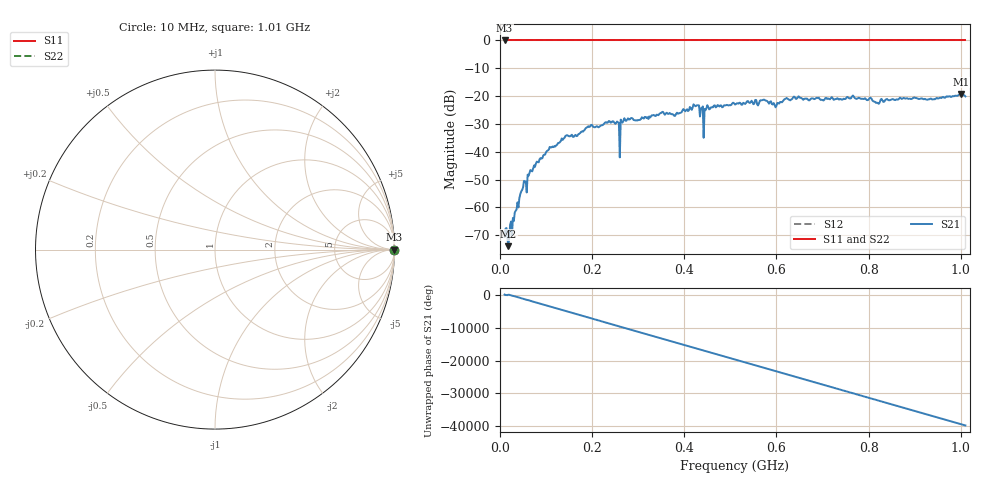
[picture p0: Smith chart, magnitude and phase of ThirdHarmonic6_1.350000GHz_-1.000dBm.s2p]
! 8/16/2025 3:11:46 PM
! C:\ANRITSUVNA\TEMP\TEMP.S2P
! CHANNEL.1
! TR.MEASUREMENT
! RAW.DATA
! RF.CORRECTION.OFF
! AVERAGING.OFF
! IF.BANDWIDTH: 5KHZ
! SWEEPTYPE:  FREQ.SWEEP(Linear)
! Reference Plane Port Info
! PORT:  PORT1  PORT2
! DISTANCE:  0  m  0  m
! TIME:  0  s  0  s
! PHASE.OFFSET:  0  deg.  0  deg.
! LOSS:  0  dB  0  dB
! REF.LOSS:  0  dB  0  dB
! REF.FREQ:  0  Hz  0  Hz
! Power Info
! POWER:  -20  dBm  -20  dBm
! EFF.POWER:  -20  dBm  -20  dBm
! SOURCE.ATTEN:  0  dB  0  dB
! TEST.ATTEN:  0  dB  0  dB
# GHZ S RI R 50.0
! FREQ.GHZ  S11RE  S11IM  S21RE  S21IM  S12RE  S12IM  S22RE  S22IM
!; PortSelection: Port_12
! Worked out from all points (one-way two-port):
!   501 points, 10 MHz to 1.01 GHz, reference 50 ohm
!   highest |S21| = -19.20 dB at 1 GHz (marker M1); lowest = -73.9 dB at 18 MHz (marker M2)
!   lowest |S11| = 0.0 dB at 10 MHz (marker M3)
!   |S11| at or under -10 dB: nowhere
!   |S22| runs from 0.0 to 0.0 dB; largest |S21 - S12| = 1.1
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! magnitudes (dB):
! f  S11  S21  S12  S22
! 10 MHz  0.0  -70.6  0.0  0.0
! 18 MHz  0.0  -73.9  0.0  0.0
! 22 MHz  0.0  -66.1  0.0  0.0
! 48 MHz  0.0  -53.7  0.0  0.0
! 64 MHz  0.0  -47.5  0.0  0.0
! 110 MHz  0.0  -38.4  0.0  0.0
! 178 MHz  0.0  -32.7  0.0  0.0
! 240 MHz  0.0  -29.5  0.0  0.0
! 262 MHz  0.0  -28.4  0.0  0.0
! 266 MHz  0.0  -29.5  0.0  0.0
! 344 MHz  0.0  -26.8  0.0  0.0
! 378 MHz  0.0  -27.1  0.0  0.0
! 424 MHz  0.0  -23.6  0.0  0.0
! 436 MHz  0.0  -24.4  0.0  0.0
! 438 MHz  0.0  -24.6  0.0  0.0
! 446 MHz  0.0  -25.0  0.0  0.0
! 448 MHz  0.0  -24.3  0.0  0.0
! 510 MHz  0.0  -23.0  0.0  0.0
! 678 MHz  0.0  -20.8  0.0  0.0
! 844 MHz  0.0  -21.5  0.0  0.0
! 1 GHz  0.0  -19.2  0.0  0.0
! 1.01 GHz  0.0  -20.1  0.0  0.0
